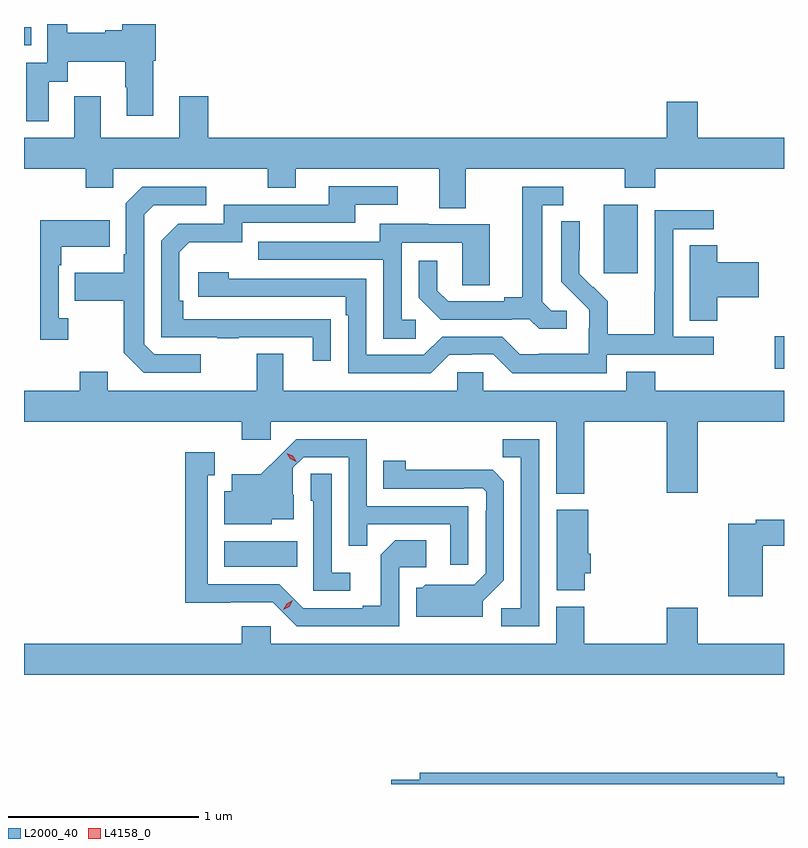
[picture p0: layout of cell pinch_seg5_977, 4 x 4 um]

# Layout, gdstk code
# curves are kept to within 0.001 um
import gdstk
lib = gdstk.Library(unit=1e-6, precision=1e-09)
def R(c, l, rs):  # rectangles x0, y0, x1, y1
    for r in rs: c.add(gdstk.rectangle(r[:2], r[2:], *l))
def P(c, l, *ps):  # polygons
    for p in ps: c.add(gdstk.Polygon(p, *l))
L2000_40 = (2000, 40)
L4158_0 = (4158, 0)

pinch_seg5_977 = lib.new_cell('pinch_seg5_977')
R(pinch_seg5_977, L2000_40, [(750.092,894.626,750.476,894.76), (752.988,895.667,753.038,895.838), (752.09,896.169,752.269,896.53), (749.038,897.369,749.075,897.465)])
P(pinch_seg5_977, L2000_40, [(749.167,897.178),(749.269,897.178),(749.269,897.284),(749.572,897.284),(749.572,897.15),(749.579,897.15),(749.579,897),(749.719,897),(749.719,897.288),(749.732,897.288),(749.732,897.482),(749.554,897.482),(749.554,897.449),(749.465,897.449),(749.465,897.436),(749.265,897.436),(749.265,897.482),(749.16,897.482),(749.16,897.279),(749.051,897.279),(749.051,896.97),(749.167,896.97)],
  [(751.363,896.72),(752.2,896.72),(752.2,896.621),(752.36,896.621),(752.36,896.72),(753.038,896.72),(753.038,896.884),(752.584,896.884),(752.584,897.073),(752.42,897.073),(752.42,896.884),(750.008,896.884),(750.008,897.103),(749.855,897.103),(749.855,896.884),(749.443,896.884),(749.443,897.103),(749.303,897.103),(749.303,896.884),(749.038,896.884),(749.038,896.72),(749.362,896.72),(749.362,896.621),(749.508,896.621),(749.508,896.72),(750.322,896.72),(750.322,896.621),(750.469,896.621),(750.469,896.72),(751.223,896.72),(751.223,896.512),(751.363,896.512)],
  [(750.653,895.928),(749.876,895.929),(749.876,896.026),(749.856,896.026),(749.856,896.28),(749.909,896.333),(750.186,896.333),(750.186,896.436),(750.781,896.436),(750.781,896.532),(751.006,896.532),(751.006,896.628),(750.641,896.628),(750.641,896.532),(750.09,896.532),(750.09,896.43),(749.85,896.43),(749.76,896.34),(749.76,895.833),(750.055,895.833),(750.055,895.828),(750.167,895.828),(750.167,895.833),(750.557,895.833),(750.557,895.71),(750.653,895.71)],
  [(751.894,895.974),(751.812,895.974),(751.765,896.021),(751.765,896.529),(751.876,896.529),(751.876,896.625),(751.661,896.625),(751.661,896.045),(751.565,896.045),(751.565,896.022),(751.27,896.022),(751.213,896.079),(751.213,896.236),(751.116,896.236),(751.116,896.042),(751.232,895.926),(751.604,895.926),(751.604,895.929),(751.698,895.929),(751.75,895.877),(751.894,895.877)],
  [(749.968,895.743),(749.724,895.743),(749.67,895.797),(749.67,896.478),(749.721,896.529),(749.998,896.529),(749.998,896.625),(749.661,896.625),(749.574,896.538),(749.574,896.269),(749.562,896.269),(749.562,896.173),(749.305,896.173),(749.305,896.026),(749.562,896.026),(749.562,895.753),(749.667,895.647),(749.968,895.647)],
  [(752.106,895.74),(752.668,895.74),(752.668,895.836),(752.454,895.836),(752.454,896.403),(752.668,896.403),(752.668,896.502),(752.358,896.502),(752.358,896.072),(752.356,896.072),(752.356,895.849),(752.111,895.849),(752.111,896.023),(752.034,896.1),(752.031,896.097),(751.961,896.168),(751.962,896.444),(751.866,896.444),(751.866,896.126),(752.012,895.978),(752.012,895.881),(752.01,895.881),(752.01,895.747),(751.747,895.747),(751.747,895.743),(751.647,895.743),(751.554,895.836),(751.239,895.836),(751.143,895.74),(750.84,895.74),(750.84,896.142),(750.116,896.142),(750.116,896.176),(749.955,896.176),(749.955,896.046),(750.731,896.046),(750.731,895.949),(750.744,895.949),(750.744,895.644),(751.179,895.644),(751.275,895.74),(751.394,895.74),(751.394,895.743),(751.509,895.743),(751.609,895.643),(752.106,895.643)],
  [(749.272,895.934),(749.22,895.934),(749.22,896.213),(749.233,896.213),(749.233,896.309),(749.489,896.309),(749.489,896.449),(749.123,896.449),(749.123,895.821),(749.272,895.821)],
  [(751.099,895.926),(751.026,895.926),(751.026,896.331),(751.344,896.331),(751.344,896.107),(751.489,896.107),(751.489,896.427),(751.165,896.427),(751.165,896.431),(750.911,896.431),(750.911,896.337),(750.271,896.337),(750.271,896.241),(750.93,896.241),(750.93,895.825),(751.099,895.825)],
  [(752.687,896.045),(752.905,896.045),(752.905,896.228),(752.687,896.228),(752.687,896.318),(752.543,896.318),(752.543,895.921),(752.687,895.921)],
  [(751.986,895.388),(752.42,895.388),(752.42,895.014),(752.584,895.014),(752.584,895.388),(753.038,895.388),(753.038,895.552),(752.36,895.552),(752.36,895.651),(752.207,895.651),(752.207,895.552),(751.455,895.552),(751.455,895.65),(751.317,895.65),(751.317,895.552),(750.403,895.552),(750.403,895.747),(750.263,895.747),(750.263,895.552),(749.479,895.552),(749.479,895.651),(749.332,895.651),(749.332,895.552),(749.038,895.552),(749.038,895.388),(750.185,895.388),(750.185,895.293),(750.336,895.293),(750.336,895.388),(751.838,895.388),(751.838,895.01),(751.986,895.01)],
  [(751.377,894.945),(750.843,894.945),(750.843,895.296),(750.47,895.296),(750.283,895.111),(750.131,895.111),(750.131,895.024),(750.092,895.024),(750.092,894.848),(750.342,894.848),(750.342,894.875),(750.457,894.875),(750.457,895.004),(750.453,895.004),(750.453,895.146),(750.51,895.203),(750.747,895.203),(750.747,894.736),(750.845,894.736),(750.845,894.849),(751.281,894.849),(751.281,894.636),(751.377,894.636)],
  [(751.749,895.296),(751.558,895.296),(751.558,895.201),(751.653,895.201),(751.653,894.408),(751.551,894.408),(751.551,894.312),(751.749,894.312)],
  [(751.014,894.624),(751.156,894.624),(751.156,894.764),(750.991,894.764),(750.915,894.688),(750.915,894.421),(750.821,894.421),(750.821,894.408),(750.507,894.408),(750.381,894.534),(750.004,894.534),(750.004,895.107),(750.043,895.107),(750.043,895.228),(749.886,895.228),(749.886,894.437),(750.348,894.438),(750.474,894.312),(751.014,894.312)],
  [(751.453,894.444),(751.563,894.554),(751.563,895.076),(751.504,895.135),(751.047,895.136),(751.047,895.183),(750.928,895.183),(750.928,895.035),(751.352,895.035),(751.352,895.038),(751.452,895.038),(751.47,895.02),(751.47,894.92),(751.467,894.92),(751.467,894.591),(751.407,894.531),(751.15,894.532),(751.134,894.516),(751.103,894.516),(751.103,894.362),(751.453,894.362)],
  [(750.754,894.595),(750.657,894.595),(750.657,895.115),(750.546,895.115),(750.546,894.972),(750.561,894.972),(750.561,894.498),(750.754,894.498)],
  [(751.988,894.59),(752.021,894.59),(752.021,894.694),(752.008,894.694),(752.008,894.925),(751.841,894.925),(751.841,894.503),(751.988,894.503)],
  [(752.927,894.736),(753.038,894.736),(753.038,894.872),(752.89,894.872),(752.89,894.852),(752.744,894.852),(752.744,894.471),(752.927,894.471)],
  [(753.038,894.22),(752.584,894.22),(752.584,894.409),(752.42,894.409),(752.42,894.22),(751.986,894.22),(751.986,894.415),(751.838,894.415),(751.838,894.22),(750.336,894.22),(750.336,894.313),(750.185,894.313),(750.185,894.22),(749.038,894.22),(749.038,894.056),(753.038,894.056)],
  [(753.038,893.52),(753.002,893.52),(753.002,893.54),(751.121,893.54),(751.121,893.504),(750.972,893.504),(750.972,893.482),(753.038,893.482)])
P(pinch_seg5_977, L4158_0, [(750.403,894.398),(750.403,894.398),(750.421,894.43),(750.453,894.448),(750.453,894.448),(750.453,894.448),(750.435,894.416),(750.403,894.398)],
  [(750.47,895.179),(750.439,895.194),(750.421,895.223),(750.421,895.224),(750.421,895.224),(750.452,895.209),(750.47,895.18),(750.47,895.179)])

lib.write_gds('pinch_seg5_977.gds')
